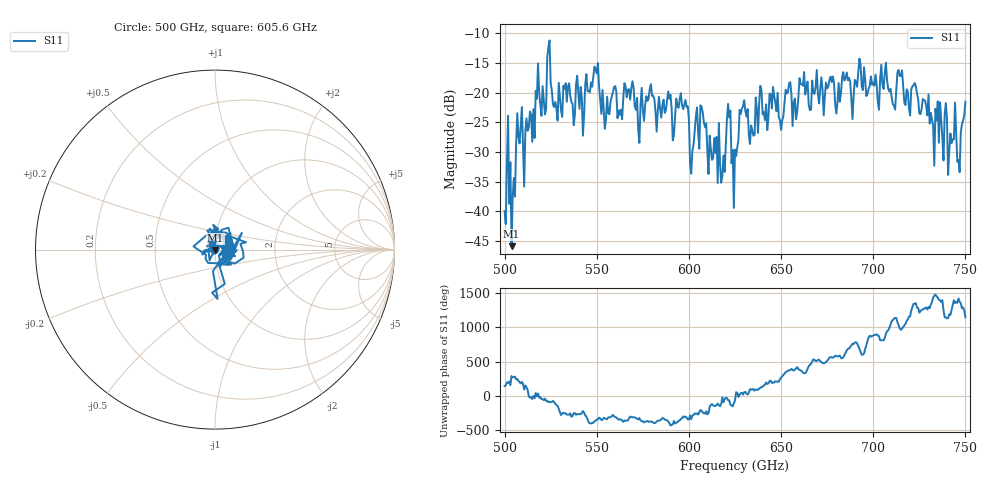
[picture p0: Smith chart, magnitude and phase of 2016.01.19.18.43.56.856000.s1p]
!Created with skrf (http://scikit-rf.org).
# GHz S RI R 50.0
!freq ReS11 ImS11
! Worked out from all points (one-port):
!   401 points, 500 GHz to 750 GHz, reference 50 ohm
!   lowest |S11| = -45.8 dB at 503.8 GHz (marker M1), VSWR 1.01, Z = 50.1 - j0.489 ohm
!   |S11| at or under -10 dB: start of sweep to end of sweep
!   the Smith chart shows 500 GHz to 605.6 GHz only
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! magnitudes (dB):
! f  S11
! 500 GHz  -40.0
! 501.9 GHz  -23.9
! 503.8 GHz  -45.8
! 508.1 GHz  -28.5
! 521.2 GHz  -21.2
! 524.4 GHz  -11.2
! 527.5 GHz  -21.5
! 531.2 GHz  -24.1
! 541.9 GHz  -20.7
! 549.4 GHz  -16.1
! 553.8 GHz  -22.7
! 562.5 GHz  -23.7
! 593.8 GHz  -22.2
! 598.8 GHz  -22.4
! 601.9 GHz  -29.8
! 607.5 GHz  -23.3
! 618.1 GHz  -34.0
! 621.2 GHz  -21.9
! 625 GHz  -29.6
! 628.8 GHz  -22.7
! 634.4 GHz  -26.3
! 656.2 GHz  -25.6
! 687.5 GHz  -18.2
! 711.2 GHz  -22.2
! 714.4 GHz  -17.2
! 718.8 GHz  -19.7
! 746.2 GHz  -31.3
! 750 GHz  -21.5
